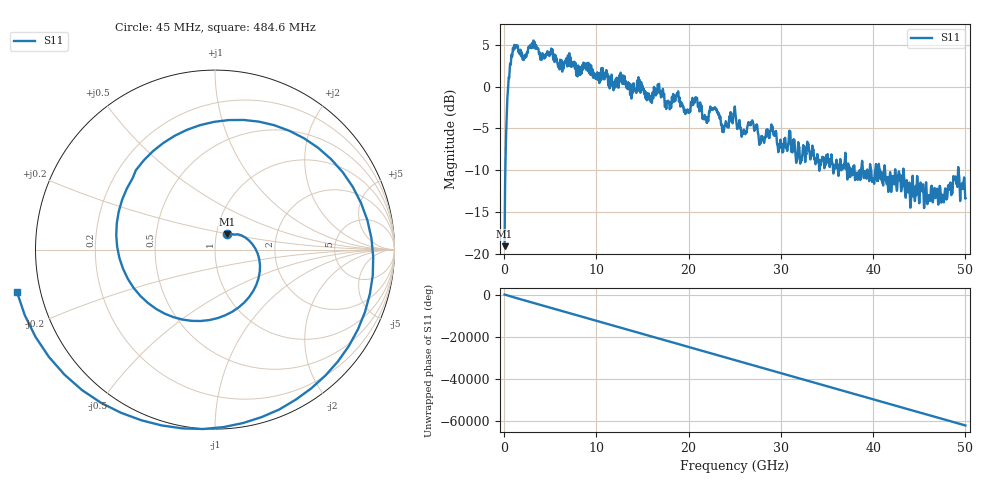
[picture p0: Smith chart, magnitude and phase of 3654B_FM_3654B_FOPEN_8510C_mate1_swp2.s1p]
!Created with skrf (http://scikit-rf.org).
# Hz S RI R 50.0
!freq ReS11 ImS11
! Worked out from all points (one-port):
!   10001 points, 45 MHz to 50 GHz, reference 50 ohm
!   lowest |S11| = -19.1 dB at 45 MHz (marker M1), VSWR 1.25, Z = 56.5 + j9.98 ohm
!   |S11| at or under -10 dB: 41.29 GHz to 42.37 GHz (1.082 GHz wide, 2.59 % of centre); 42.41 GHz to 43.26 GHz (850.2 MHz wide, 1.98 % of centre); 43.3 GHz to 49.2 GHz (5.899 GHz wide, 12.8 % of centre) (the widest 3 of 19)
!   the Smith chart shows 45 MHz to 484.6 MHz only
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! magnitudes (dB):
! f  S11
! 45 MHz  -19.1
! 434.6 MHz  0.1
! 1.024 GHz  4.4
! 2.193 GHz  3.7
! 3.242 GHz  4.7
! 6.289 GHz  1.8
! 12.53 GHz  0.6
! 15.81 GHz  -1.1
! 16.72 GHz  -0.3
! 17.76 GHz  -1.7
! 18.78 GHz  -1.0
! 19.83 GHz  -2.9
! 20.77 GHz  -1.3
! 21.88 GHz  -3.6
! 22.91 GHz  -2.6
! 23.73 GHz  -5.3
! 25.02 GHz  -2.6
! 25.93 GHz  -5.2
! 26.78 GHz  -4.3
! 27.84 GHz  -6.4
! 29.04 GHz  -4.9
! 29.93 GHz  -6.5
! 31.27 GHz  -7.7
! 37.51 GHz  -10.7
! 43.76 GHz  -12.0
! 47.55 GHz  -13.1
! 49.1 GHz  -11.6
! 50 GHz  -13.4
